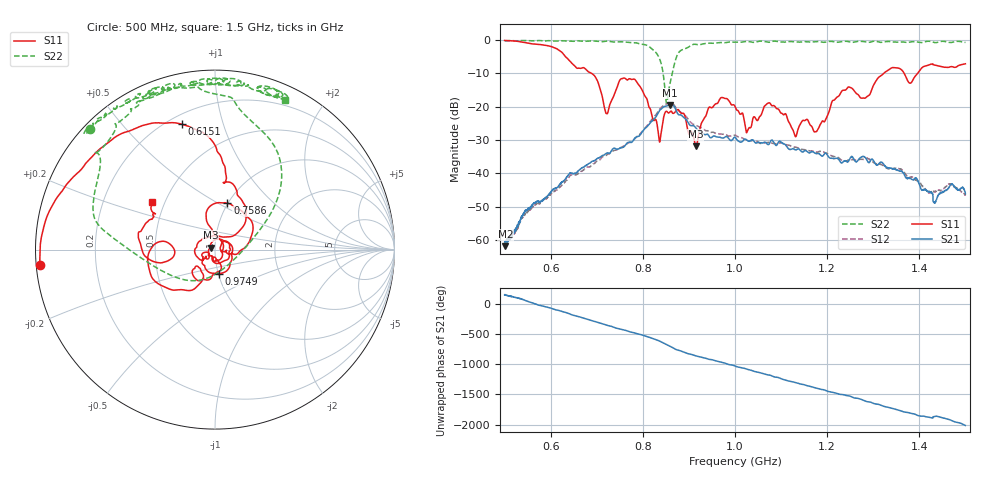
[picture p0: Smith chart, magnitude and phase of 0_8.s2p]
!Agilent Technologies,E8364B,US42250235,A.06.04.32
!Agilent E8364B: A.06.04.32
!Date: Thursday, October 01, 2020 13:20:41
!Correction: S11(Full 2 Port(1,2)) S21(Full 2 Port(1,2)) S12(Full 2 Port(1,2)) S22(Full 2 Port(1,2))
!S2P File: Measurements: S11, S21, S12, S22:
# Hz S  dB  R 50
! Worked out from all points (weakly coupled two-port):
!   2650 points, 500 MHz to 1.5 GHz, reference 50 ohm
!   highest |S21| = -19.54 dB at 858.2 MHz (marker M1); lowest = -61.8 dB at 501.9 MHz (marker M2)
!   lowest |S11| = -31.9 dB at 914.9 MHz (marker M3), VSWR 1.05, Z = 47.8 + j1.09 ohm
!   |S11| at or under -10 dB: 688.5 MHz to 1.323 GHz (634.5 MHz wide, 63.1 % of centre); 1.367 GHz to 1.396 GHz (29.5 MHz wide, 2.13 % of centre)
!   |S22| runs from -19.0 to -0.2 dB; largest |S21 - S12| = 0.05
!   S11 on the Smith chart (normalised r, x): 500 MHz: 0.01, -0.04; 615.1 MHz: 0.25, +0.74; 758.6 MHz: 0.99, +0.55; 974.9 MHz: 1.00, -0.27; 1.5 GHz: 0.43, +0.28
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5e8  -0.17 -175.1  -61.45 145.4  -61.69 144.2  -0.28 136.2
5.018875e8  -0.19 -176.0  -61.84 146.0  -60.98 146.8  -0.28 135.7
6.151378e8  -2.82 104.9  -44.20 -107.6  -44.74 -97.9  -0.34 124.9
6.668554e8  -8.47 81.6  -38.40 132.2  -39.41 144.0  -0.37 121.6
6.98188e8  -11.45 49.4  -35.87 60.9  -36.55 80.2  -0.42 117.6
7.212156e8  -22.08 72.1  -33.98 6.7  -34.55 29.4  -0.34 111.0
7.585881e8  -11.44 75.2  -32.11 -74.4  -31.85 -53.5  -0.62 104.8
7.936957e8  -13.93 14.6  -28.60 -147.3  -28.25 -124.5  -1.21 91.1
8.337108e8  -28.02 -12.7  -21.72 111.8  -21.30 135.3  -4.90 49.3
8.506984e8  -21.42 22.1  -19.85 47.7  -19.22 73.9  -18.68 -32.2
8.582484e8  -21.67 5.6  -19.54 19.2  -18.91 44.9  -13.56 -124.4
8.793884e8  -21.39 -43.8  -22.50 -53.0  -21.37 -27.1  -3.53 167.9
9.148735e8  -31.87 153.4  -26.38 -142.1  -25.61 -111.6  -1.33 141.2
9.748962e8  -17.36 -81.4  -29.44 103.3  -28.30 126.9  -0.82 120.1
1.000189e9  -20.02 -136.1  -29.20 48.3  -28.57 73.0  -0.67 117.4
1.027369e9  -27.18 -142.3  -30.20 -6.9  -30.08 14.1  -0.48 114.0
1.072669e9  -18.90 -170.1  -31.41 -97.1  -30.63 -76.6  -0.72 108.5
1.130049e9  -28.72 -15.3  -32.92 138.5  -32.19 156.5  -0.57 102.5
1.166667e9  -25.98 -102.9  -33.46 66.7  -33.27 82.3  -0.62 96.7
1.333522e9  -8.97 -145.2  -38.39 85.5  -38.62 97.1  -0.46 81.4
1.434692e9  -7.59 162.2  -48.69 -62.1  -45.56 -91.0  -0.83 71.9
1.5e9  -7.17 142.8  -46.13 147.3  -46.64 127.5  -0.74 64.8
